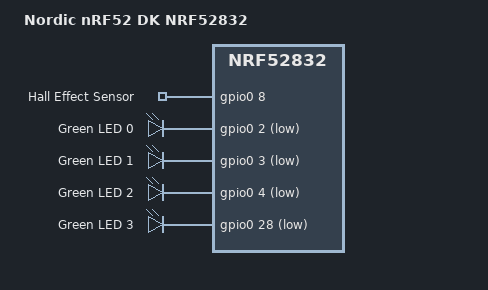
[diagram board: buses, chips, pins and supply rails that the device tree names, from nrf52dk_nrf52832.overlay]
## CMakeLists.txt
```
cmake_minimum_required(VERSION 3.20.0)
find_package(Zephyr REQUIRED HINTS $ENV{ZEPHYR_BASE})

project(Industrial_Sensor)

target_sources(app PRIVATE src/main.c)
```

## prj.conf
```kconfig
CONFIG_GPIO=y
```

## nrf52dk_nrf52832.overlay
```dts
/ {
    hall_sensor {
        compatible = "gpio-keys";
        hall_sensor_0: hall_sensor_0 {
            gpios = <&gpio0 8 (GPIO_PULL_UP | GPIO_ACTIVE_HIGH)>;
            label = "Hall Effect Sensor";
        };
    };
};



/ {
	model = "Nordic nRF52 DK NRF52832";
	compatible = "nordic,nrf52-dk-nrf52832";

	chosen {
		zephyr,console = &uart0;
		zephyr,shell-uart = &uart0;
		zephyr,uart-mcumgr = &uart0;
		zephyr,bt-mon-uart = &uart0;
		zephyr,bt-c2h-uart = &uart0;
		zephyr,sram = &sram0;
		zephyr,flash = &flash0;
		zephyr,code-partition = &slot0_partition;
	};

	leds {
		compatible = "gpio-leds";
		led0: led_0 {
			gpios = <&gpio0 2 GPIO_ACTIVE_LOW>;
			label = "Green LED 0";
		};
		led1: led_1 {
			gpios = <&gpio0 3 GPIO_ACTIVE_LOW>;
			label = "Green LED 1";
		};
		led2: led_2 {
			gpios = <&gpio0 4 GPIO_ACTIVE_LOW>;
			label = "Green LED 2";
		};
		led3: led_3 {
			gpios = <&gpio0 28 GPIO_ACTIVE_LOW>;
			label = "Green LED 3";
		};
	};
};
```

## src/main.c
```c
#include <zephyr/kernel.h>
#include <zephyr/device.h>
#include <zephyr/drivers/gpio.h>
#include <zephyr/sys/printk.h>

#define SLEEP_TIME_MS 100  // Adjust as needed

/* Get Hall Effect Sensor configuration from devicetree */
#define HALL_SENSOR_NODE DT_NODELABEL(hall_sensor_0) 

#if !DT_NODE_HAS_STATUS(HALL_SENSOR_NODE, okay)
#error "Unsupported board: hall_sensor devicetree alias is not defined"
#endif
static const struct gpio_dt_spec hall_sensor = GPIO_DT_SPEC_GET_OR(HALL_SENSOR_NODE, gpios, {0});
static struct gpio_callback hall_sensor_cb;

/* Optional LED configuration */
static const struct gpio_dt_spec led = GPIO_DT_SPEC_GET_OR(DT_ALIAS(led0), gpios, {0});
static int magnet_detected = 0; // 0 = No magnet, 1 = Magnet detected

/* Interrupt Handler for Hall Sensor */
void hall_sensor_triggered(const struct device *dev, struct gpio_callback *cb, uint32_t pins)
{
    magnet_detected = gpio_pin_get_dt(&hall_sensor); // Read sensor state
    printk("Magnet %s detected\n", magnet_detected ? "NOT" : "IS");

    if (led.port) {
        gpio_pin_set_dt(&led, !magnet_detected); // Turn LED on when magnet is detected
    }
}

int main(void)
{
    int ret;

    /* Check if Hall effect sensor is available */
    if (!gpio_is_ready_dt(&hall_sensor)) {
        printk("Error: Hall sensor device %s is not ready\n", hall_sensor.port->name);
        return 0;
    }

    /* Configure Hall effect sensor pin as input */
    ret = gpio_pin_configure_dt(&hall_sensor, GPIO_INPUT);
    if (ret != 0) {
        printk("Error %d: failed to configure %s pin %d\n", ret, hall_sensor.port->name, hall_sensor.pin);
        return 0;
    }

    /* Enable interrupt for Hall effect sensor */
    ret = gpio_pin_interrupt_configure_dt(&hall_sensor, GPIO_INT_EDGE_BOTH);
    if (ret != 0) {
        printk("Error %d: failed to configure interrupt on %s pin %d\n", ret, hall_sensor.port->name, hall_sensor.pin);
        return 0;
    }

    gpio_init_callback(&hall_sensor_cb, hall_sensor_triggered, BIT(hall_sensor.pin));
    gpio_add_callback(hall_sensor.port, &hall_sensor_cb);
    printk("Set up Hall effect sensor at %s pin %d\n", hall_sensor.port->name, hall_sensor.pin);

    /* Check if LED is available */
    if (led.port && !gpio_is_ready_dt(&led)) {
        printk("Error: LED device %s is not ready; ignoring it\n", led.port->name);
        return 0;
    }

    /* Configure LED as output if available */
    if (led.port) {
        ret = gpio_pin_configure_dt(&led, GPIO_OUTPUT);
        if (ret != 0) {
            printk("Error %d: failed to configure LED at %s pin %d\n", ret, led.port->name, led.pin);
        }
    }

    while (1) {
        /* Print output every cycle */
        printk("Hall Sensor Output: %d\n", magnet_detected);
        k_msleep(SLEEP_TIME_MS);
    }

    return 0;
}
```
